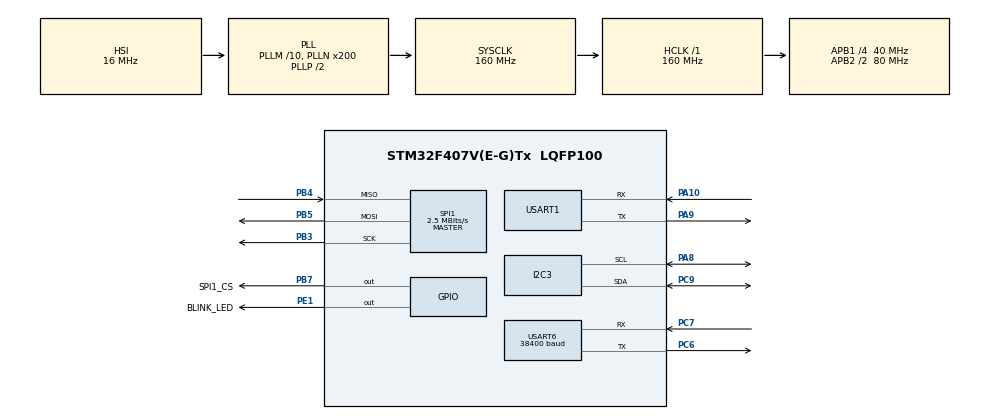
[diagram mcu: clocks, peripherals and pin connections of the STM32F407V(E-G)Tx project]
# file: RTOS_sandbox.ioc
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FREERTOS.Tasks01=blinkTest,24,128,StartBlinkTestTask,Default,NULL,Dynamic,NULL,NULL;readUART,16,512,StartReadUARTTask,Default,NULL,Dynamic,NULL,NULL;sendUART,17,512,StartSendUARTTask,Default,NULL,Dynamic,NULL,NULL;readMPU,16,512,StartReadMPU,Default,NULL,Dynamic,NULL,NULL;Task_ReadSensor,24,1024,StartReadSensorTask,Default,NULL,Dynamic,NULL,NULL
Mcu.Family=STM32F4
Mcu.Name=STM32F407V(E-G)Tx
Mcu.Package=LQFP100
NVIC.PriorityGroup=NVIC_PRIORITYGROUP_4
NVIC.TIM6_DAC_IRQn=true\:0\:0\:false\:false\:true\:false\:false\:true
NVIC.TimeBase=TIM6_DAC_IRQn
NVIC.TimeBaseIP=TIM6
PA10.Mode=Asynchronous
PA10.Signal=USART1_RX
PA13.Mode=Serial_Wire
PA13.Signal=SYS_JTMS-SWDIO
PA14.Mode=Serial_Wire
PA14.Signal=SYS_JTCK-SWCLK
PA8.Mode=I2C
PA8.Signal=I2C3_SCL
PA9.Mode=Asynchronous
PA9.Signal=USART1_TX
PB3.Mode=Full_Duplex_Master
PB3.Signal=SPI1_SCK
PB4.Mode=Full_Duplex_Master
PB4.Signal=SPI1_MISO
PB5.Mode=Full_Duplex_Master
PB5.Signal=SPI1_MOSI
PB7.GPIO_Label=SPI1_CS
PB7.Signal=GPIO_Output
PC6.Mode=Asynchronous
PC6.Signal=USART6_TX
PC7.Mode=Asynchronous
PC7.Signal=USART6_RX
PC9.Mode=I2C
PC9.Signal=I2C3_SDA
PE1.GPIO_Label=BLINK_LED
PE1.Signal=GPIO_Output
ProjectManager.HeapSize=0x200
ProjectManager.StackSize=0x400
ProjectManager.TargetToolchain=SW4STM32
RCC.48MHZClocksFreq_Value=80000000
RCC.AHBFreq_Value=160000000
RCC.APB1CLKDivider=RCC_HCLK_DIV4
RCC.APB1Freq_Value=40000000
RCC.APB1TimFreq_Value=80000000
RCC.APB2CLKDivider=RCC_HCLK_DIV2
RCC.APB2Freq_Value=80000000
RCC.APB2TimFreq_Value=160000000
RCC.CortexFreq_Value=160000000
RCC.HCLKFreq_Value=160000000
RCC.HSE_VALUE=25000000
RCC.HSI_VALUE=16000000
RCC.LSE_VALUE=32768
RCC.PLLM=10
RCC.PLLN=200
RCC.SYSCLKFreq_VALUE=160000000
RCC.SYSCLKSource=RCC_SYSCLKSOURCE_PLLCLK
RCC.VCOOutputFreq_Value=320000000
SPI1.BaudRatePrescaler=SPI_BAUDRATEPRESCALER_32
SPI1.CalculateBaudRate=2.5 MBits/s
SPI1.Direction=SPI_DIRECTION_2LINES
SPI1.Mode=SPI_MODE_MASTER
SPI1.VirtualType=VM_MASTER
USART1.VirtualMode=VM_ASYNC
USART6.BaudRate=38400
USART6.VirtualMode=VM_ASYNC
VP_FREERTOS_VS_CMSIS_V2.Mode=CMSIS_V2
VP_SYS_VS_tim6.Mode=TIM6
board=custom

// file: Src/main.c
/* USER CODE BEGIN Header */
/**
  ******************************************************************************
  * @file           : main.c
  * @brief          : Main program body
  ******************************************************************************
  * @attention
  *
  * <h2><center>&copy; Copyright (c) 2020 STMicroelectronics.
  * All rights reserved.</center></h2>
  *
  * This software component is licensed by ST under BSD 3-Clause license,
  * the "License"; You may not use this file except in compliance with the
  * License. You may obtain a copy of the License at:
  *                        opensource.org/licenses/BSD-3-Clause
  *
  ******************************************************************************
  */
/* USER CODE END Header */

#include "main.h"
#include "cmsis_os.h"
#include "i2c.h"
#include "spi.h"
#include "usart.h"
#include "gpio.h"

/* USER CODE BEGIN PD */
#define GLOBAL_VER 0.0.1;

/* USER CODE END PD */

void SystemClock_Config(void);
void MX_FREERTOS_Init(void);

int main(void)
{

  /* MCU Configuration--------------------------------------------------------*/

  /* Reset of all peripherals, Initializes the Flash interface and the Systick. */
  HAL_Init();

  /* Configure the system clock */
  SystemClock_Config();

  /* Initialize all configured peripherals */
  MX_GPIO_Init();
  MX_I2C3_Init();
  MX_SPI1_Init();
  MX_USART1_UART_Init();
  MX_USART6_UART_Init();

  /* Call init function for freertos objects (in freertos.c) */
  MX_FREERTOS_Init();

  /* Start scheduler */
  osKernelStart();

  /* We should never get here as control is now taken by the scheduler */

  /* Infinite loop */
  while (1)
  {

  }
}

void SystemClock_Config(void)
{
  RCC_OscInitTypeDef RCC_OscInitStruct = {0};
  RCC_ClkInitTypeDef RCC_ClkInitStruct = {0};

  /** Configure the main internal regulator output voltage
  */
  __HAL_RCC_PWR_CLK_ENABLE();
  __HAL_PWR_VOLTAGESCALING_CONFIG(PWR_REGULATOR_VOLTAGE_SCALE1);
  /** Initializes the CPU, AHB and APB busses clocks
  */
  RCC_OscInitStruct.OscillatorType = RCC_OSCILLATORTYPE_HSI;
  RCC_OscInitStruct.HSIState = RCC_HSI_ON;
  RCC_OscInitStruct.HSICalibrationValue = RCC_HSICALIBRATION_DEFAULT;
  RCC_OscInitStruct.PLL.PLLState = RCC_PLL_ON;
  RCC_OscInitStruct.PLL.PLLSource = RCC_PLLSOURCE_HSI;
  RCC_OscInitStruct.PLL.PLLM = 10;
  RCC_OscInitStruct.PLL.PLLN = 200;
  RCC_OscInitStruct.PLL.PLLP = RCC_PLLP_DIV2;
  RCC_OscInitStruct.PLL.PLLQ = 4;
  if (HAL_RCC_OscConfig(&RCC_OscInitStruct) != HAL_OK)
  {
    Error_Handler();
  }
  /** Initializes the CPU, AHB and APB busses clocks
  */
  RCC_ClkInitStruct.ClockType = RCC_CLOCKTYPE_HCLK|RCC_CLOCKTYPE_SYSCLK
                              |RCC_CLOCKTYPE_PCLK1|RCC_CLOCKTYPE_PCLK2;
  RCC_ClkInitStruct.SYSCLKSource = RCC_SYSCLKSOURCE_PLLCLK;
  RCC_ClkInitStruct.AHBCLKDivider = RCC_SYSCLK_DIV1;
  RCC_ClkInitStruct.APB1CLKDivider = RCC_HCLK_DIV4;
  RCC_ClkInitStruct.APB2CLKDivider = RCC_HCLK_DIV2;

  if (HAL_RCC_ClockConfig(&RCC_ClkInitStruct, FLASH_LATENCY_5) != HAL_OK)
  {
    Error_Handler();
  }
}

void HAL_TIM_PeriodElapsedCallback(TIM_HandleTypeDef *htim)
{
  if (htim->Instance == TIM6) {
    HAL_IncTick();
  }
}

void Error_Handler(void)
{
}

/************************ (C) COPYRIGHT STMicroelectronics *****END OF FILE****/

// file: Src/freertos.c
/* USER CODE BEGIN Header */
/**
  ******************************************************************************
  * File Name          : freertos.c
  * Description        : Code for freertos applications
  ******************************************************************************
  * @attention
  *
  * <h2><center>&copy; Copyright (c) 2020 STMicroelectronics.
  * All rights reserved.</center></h2>
  *
  * This software component is licensed by ST under Ultimate Liberty license
  * SLA0044, the "License"; You may not use this file except in compliance with
  * the License. You may obtain a copy of the License at:
  *                             www.st.com/SLA0044
  *
  ******************************************************************************
  */
/* USER CODE END Header */

#include "FreeRTOS.h"
#include "task.h"
#include "main.h"
#include "cmsis_os.h"

/* USER CODE BEGIN Includes */
#include "usart.h"
#include <stdio.h>
#include <string.h>
#include "queue.h"
#include "mpu_sensor.h"
//#include "mpu6050.h"
#include "spiLOG.h"

/* USER CODE END Includes */

/* USER CODE BEGIN PTD */
typedef struct
{
	float ax;
	float ay;
	float az;

	float gx;
	float gy;
	float gz;
}MpuState_t;

/* USER CODE END PTD */

/* USER CODE BEGIN Variables */
QueueHandle_t uartQueue;
QueueHandle_t mpuQueue;

/* USER CODE END Variables */
osThreadId_t blinkTestHandle;
osThreadId_t readUARTHandle;
osThreadId_t sendUARTHandle;
osThreadId_t readMPUHandle;
osThreadId_t Task_ReadSensorHandle;

void StartBlinkTestTask(void *argument);
void StartReadUARTTask(void *argument);
void StartSendUARTTask(void *argument);
void StartReadMPU(void *argument);
void StartReadSensorTask(void *argument);

void MX_FREERTOS_Init(void); /* (MISRA C 2004 rule 8.1) */

void MX_FREERTOS_Init(void) {
  /* USER CODE BEGIN Init */
	  /* Setup UART queue */
    uartQueue = xQueueCreate(100, sizeof(uint16_t));
    mpuQueue = xQueueCreate(100, sizeof(MpuState_t)); // create space for 100 values (each one is 16 bit)

  /* USER CODE END Init */
osKernelInitialize();

  /* Create the thread(s) */
  /* definition and creation of blinkTest */
  const osThreadAttr_t blinkTest_attributes = {
    .name = "blinkTest",
    .priority = (osPriority_t) osPriorityNormal,
    .stack_size = 128
  };
  blinkTestHandle = osThreadNew(StartBlinkTestTask, NULL, &blinkTest_attributes);

  /* definition and creation of readUART */
  const osThreadAttr_t readUART_attributes = {
    .name = "readUART",
    .priority = (osPriority_t) osPriorityBelowNormal,
    .stack_size = 512
  };
  readUARTHandle = osThreadNew(StartReadUARTTask, NULL, &readUART_attributes);

  /* definition and creation of sendUART */
  const osThreadAttr_t sendUART_attributes = {
    .name = "sendUART",
    .priority = (osPriority_t) osPriorityBelowNormal1,
    .stack_size = 512
  };
  sendUARTHandle = osThreadNew(StartSendUARTTask, NULL, &sendUART_attributes);

  /* definition and creation of readMPU */
  const osThreadAttr_t readMPU_attributes = {
    .name = "readMPU",
    .priority = (osPriority_t) osPriorityBelowNormal,
    .stack_size = 512
  };
  readMPUHandle = osThreadNew(StartReadMPU, NULL, &readMPU_attributes);

  /* definition and creation of Task_ReadSensor */
  const osThreadAttr_t Task_ReadSensor_attributes = {
    .name = "Task_ReadSensor",
    .priority = (osPriority_t) osPriorityNormal,
    .stack_size = 1024
  };
  Task_ReadSensorHandle = osThreadNew(StartReadSensorTask, NULL, &Task_ReadSensor_attributes);

}

void StartBlinkTestTask(void *argument)
{

  /* USER CODE BEGIN StartBlinkTestTask */
  /* Infinite loop */
  for(;;)
  {
    HAL_GPIO_TogglePin(BLINK_LED_GPIO_Port, BLINK_LED_Pin);
    osDelay(200);
  }

  // This should never be reached but just in case
  osThreadTerminate(NULL);

  /* USER CODE END StartBlinkTestTask */
}

void StartReadUARTTask(void *argument)
{
  /* USER CODE BEGIN StartReadUARTTask */

  /* Infinite loop */
  for(;;)
  {
	volatile uint8_t uartReceivedData[2] = {0};

	volatile HAL_StatusTypeDef status = HAL_UART_Receive(&huart6, (uint8_t *)uartReceivedData,
    		sizeof(uartReceivedData), 1000);

	HAL_UART_Receive(&huart6, NULL, 1, 1); // throw away extra byte that might have accumulated

	if(status != HAL_OK)
    {
    	continue; // ignore packets that time out
    }

	uint16_t data = (uartReceivedData[0] << 8) | uartReceivedData[1];
	data = data;

	//continue;

	/* Send received data to UART queue */
	if(xQueueSend(uartQueue, &data, (TickType_t) 10) != pdPASS)
	{
		/* Failed to send to queue */
	}

    osDelay(1);
  }
  /* USER CODE END StartReadUARTTask */
}

void StartSendUARTTask(void *argument)
{
  /* USER CODE BEGIN StartSendUARTTask */
  /* Infinite loop */
  for(;;)
  {
	  /* If data exists in UART queue, retrieve it */
	  if(uartQueue != NULL)
	  {
		  char txBuf[100];

		  /* Grab data from queue */
		  uint16_t data = 99;
		  if( xQueueReceive( uartQueue, &data, ( TickType_t ) 0 ) )
		  {
			  /* Send received data back out to UART */
			  snprintf(txBuf, sizeof(txBuf), "%d\r\n", data);
			  volatile int length = strlen(txBuf);
			  length = length;

			  HAL_UART_Transmit(&huart6, (uint8_t*)txBuf, strlen(txBuf), 10);
		  }

		  MpuState_t state;

		  if(xQueueReceive(mpuQueue, &state, (TickType_t) 0))
		  {
			  snprintf(txBuf, sizeof(txBuf), "lol %d \r\n", (int)state.ax);

			  HAL_UART_Transmit(&huart1, (uint8_t*)txBuf, strlen(txBuf), 10);
		  }

		  /* Send test message to SPI */
		  taskENTER_CRITICAL();
		  uint8_t reg = 0x33;
		  const uint8_t buf[10] = "Hello";
		  SPI1_write_bytes(reg, buf, strlen((char *)buf));
		  taskEXIT_CRITICAL();
	  }

    osDelay(1);
  }
  /* USER CODE END StartSendUARTTask */
}

void StartReadMPU(void *argument)
{
  /* USER CODE BEGIN StartReadMPU */
    osDelay(1000); // Give sensor time to power up
    taskENTER_CRITICAL();
    InitMPU();
    osDelay(10);
	taskEXIT_CRITICAL();

    /* Infinite loop */
    for(;;)
    {
        float ax,ay,az,gx,gy,gz;

	//vTaskSuspendAll();

//	char buf[50];

	// Send character to clear Tera Term screen
//	snprintf(buf, sizeof(buf), "\x1b[2J");
//	taskENTER_CRITICAL();
//	HAL_UART_Transmit(&huart1, (uint8_t *)buf, strlen(buf), 1);
//	taskEXIT_CRITICAL();
//	osDelay(1);

//	snprintf(buf, sizeof(buf), "asdfjkl; \n\r zxy \n\r");
//	HAL_UART_Transmit(&huart1, (uint8_t *)buf, strlen(buf), 1);

	taskENTER_CRITICAL();
	ReadAcceleration(&ax, &ay, &az);
	ReadGyro(&gx, &gy, &gz);
	taskEXIT_CRITICAL();
	ax = ax;
	ay = ay;
	az = az;

	gx = gx;
	gy = gy;
	gz = gz;

	MpuState_t mpu = {ax, ay, az, gx, gy, gz};

	/* Send received data to UART queue */
	if(xQueueSend(mpuQueue, &mpu, (TickType_t) 10) != pdPASS)
	{
		/* Failed to send to queue */
		volatile int dummy2 = 0;
		dummy2 = dummy2;
	}

	volatile int num = uxQueueMessagesWaiting(mpuQueue);
	num = num;

    osDelay(100);
  }
  /* USER CODE END StartReadMPU */
}

void StartReadSensorTask(void *argument)
{
  for(;;)
  {
    osDelay(1);
  }
}

/************************ (C) COPYRIGHT STMicroelectronics *****END OF FILE****/
